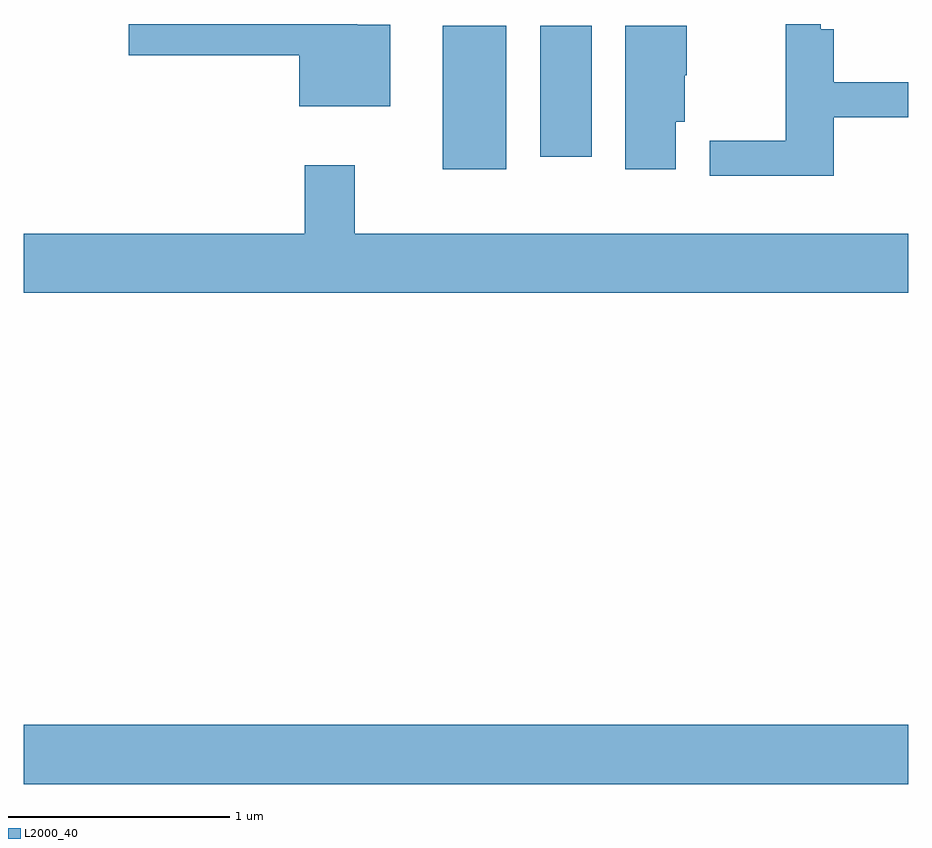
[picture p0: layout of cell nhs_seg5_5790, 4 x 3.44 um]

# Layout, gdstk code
import gdstk
lib = gdstk.Library(unit=1e-6, precision=1e-09)
def R(c, l, rs):  # rectangles x0, y0, x1, y1
    for r in rs: c.add(gdstk.rectangle(r[:2], r[2:], *l))
def P(c, l, *ps):  # polygons
    for p in ps: c.add(gdstk.Polygon(p, *l))
L2000_40 = (2000, 40)

nhs_seg5_5790 = lib.new_cell('nhs_seg5_5790')
R(nhs_seg5_5790, L2000_40, [(357.611,1394.636,361.611,1394.904), (359.506,1397.416,359.794,1398.064), (359.946,1397.471,360.179,1398.064)])
P(nhs_seg5_5790, L2000_40, [(359.269,1398.069),(359.119,1398.069),(359.119,1398.072),(358.086,1398.072),(358.086,1397.931),(358.856,1397.931),(358.856,1397.701),(359.269,1397.701)],
  [(361.274,1397.651),(361.611,1397.651),(361.611,1397.809),(361.274,1397.809),(361.274,1398.049),(361.214,1398.049),(361.214,1398.072),(361.056,1398.072),(361.056,1397.544),(360.713,1397.544),(360.713,1397.386),(361.274,1397.386)],
  [(360.559,1397.631),(360.599,1397.631),(360.599,1397.84),(360.609,1397.84),(360.609,1398.064),(360.331,1398.064),(360.331,1397.416),(360.559,1397.416)],
  [(361.611,1397.124),(359.109,1397.124),(359.109,1397.434),(358.881,1397.434),(358.881,1397.124),(357.611,1397.124),(357.611,1396.856),(361.611,1396.856)])

lib.write_gds('nhs_seg5_5790.gds')
